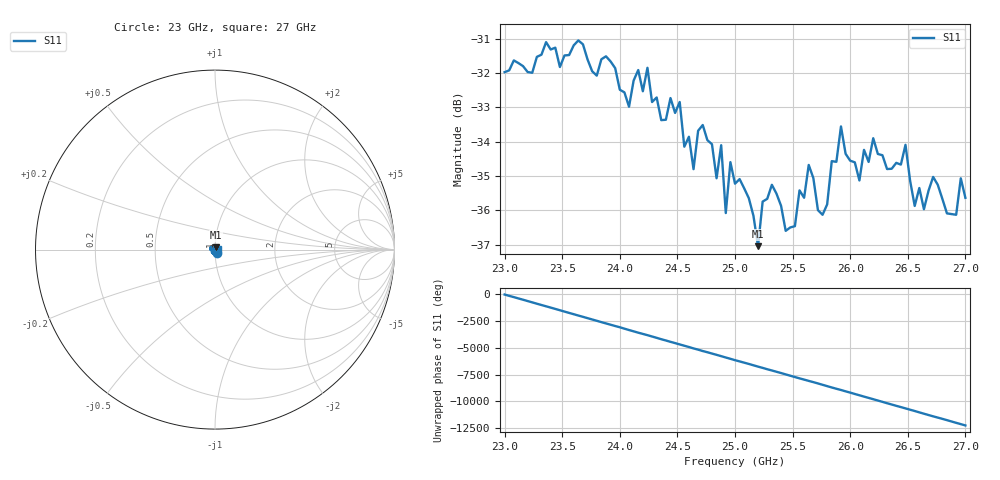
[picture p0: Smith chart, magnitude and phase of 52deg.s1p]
#  HZ  S  RI  R  50.00
! Rohde & Schwarz ZVA40 4Ports - Version 3.90 - 1145.1110k42 SN: 100403
! Date: 2023-09-26 10:59:04
! Measurement: S12
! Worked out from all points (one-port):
!   101 points, 23 GHz to 27 GHz, reference 50 ohm
!   lowest |S11| = -37.0 dB at 25.2 GHz (marker M1), VSWR 1.03, Z = 50.3 + j1.37 ohm
!   |S11| at or under -10 dB: start of sweep to end of sweep
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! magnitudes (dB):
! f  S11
! 23 GHz  -32.0
! 23.52 GHz  -31.5
! 23.88 GHz  -31.5
! 24 GHz  -32.5
! 24.08 GHz  -33.0
! 24.24 GHz  -31.8
! 24.36 GHz  -33.4
! 24.52 GHz  -32.8
! 24.64 GHz  -34.8
! 24.72 GHz  -33.5
! 24.84 GHz  -35.1
! 24.88 GHz  -34.1
! 24.92 GHz  -36.1
! 24.96 GHz  -34.6
! 25 GHz  -35.2
! 25.2 GHz  -37.0
! 25.32 GHz  -35.3
! 25.52 GHz  -36.5
! 25.64 GHz  -34.7
! 25.76 GHz  -36.1
! 25.92 GHz  -33.6
! 26 GHz  -34.6
! 26.48 GHz  -34.1
! 26.52 GHz  -35.1
! 26.64 GHz  -36.0
! 26.72 GHz  -35.0
! 26.84 GHz  -36.1
! 27 GHz  -35.6
